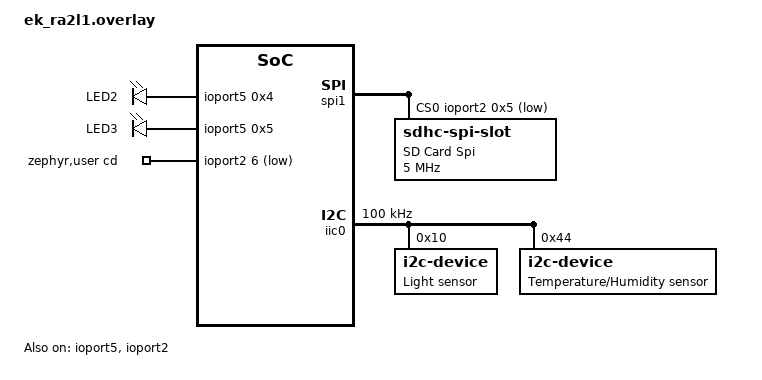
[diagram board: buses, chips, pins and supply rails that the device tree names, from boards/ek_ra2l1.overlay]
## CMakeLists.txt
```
cmake_minimum_required(VERSION 3.20.0)

list(APPEND BOARD_ROOT C:\\Users\\JohanneVIGNY\\ZephyrRTOS\\zephyr)  # Define path to board

set(BUILD_MODE "release" CACHE STRING "Build mode: debug or release")   # set build mode to release by default

if(BUILD_MODE STREQUAL "debug")
  set(CONF_FILE "prj.conf prj_debug.conf")                      # Enable console log via uart on kconfig
elseif(BUILD_MODE STREQUAL "release")
  set(CONF_FILE "prj.conf prj_release.conf")                    # Disable default console log via uart
else()
  message(FATAL_ERROR "Invalid BUILD_MODE: ${BUILD_MODE}. Use 'debug' or 'release'.")   # Error if build mode unknown
endif()

set(CONF_FILE ${CONF_FILE} CACHE INTERNAL "Merged config file list")    # merge default prj.conf with the one to enable or disable uart

find_package(Zephyr)    # pull zephyr and create a tagret named 'app'
project(my-app)     # Must be call after the previous line to avoid conflict
                    # Define my CMake application project

if(BUILD_MODE STREQUAL "debug")                             # If debug mode enable add macro Debug
    target_compile_definitions(app PRIVATE DEBUG=1)
endif()

target_sources(app PRIVATE src/main.c
                            src/lum_sensor.c
                            src/temp_hum_sensor.c
                            src/sd_card.c
                            ../../common/measures_logger/measures_logger.c) 

target_include_directories(app PRIVATE src ../../common/measures_logger/)
```

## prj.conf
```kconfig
CONFIG_I2C=y
CONFIG_GPIO=y
CONFIG_SPI=y

CONFIG_SDHC=y
CONFIG_SPI_SDHC=y
CONFIG_DISK_ACCESS=y
CONFIG_DISK_DRIVERS=y
CONFIG_FILE_SYSTEM=y
CONFIG_FAT_FILESYSTEM_ELM=y

CONFIG_MAIN_STACK_SIZE=4096
```

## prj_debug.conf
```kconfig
CONFIG_LOG=y
CONFIG_LOG_MODE_IMMEDIATE=y
CONFIG_SPI_LOG_LEVEL_DBG=y
CONFIG_SDHC_LOG_LEVEL_DBG=y
# CONFIG_BOOT_CLEAR_SCREEN=y
CONFIG_DEBUG=y
CONFIG_DEBUG_INFO=y
```

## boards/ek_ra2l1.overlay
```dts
/ {
	leds {
		led2: led2 {
			gpios = < &ioport5 0x4 GPIO_ACTIVE_HIGH >;
			label = "LED2";
		};
		led3: led3 {
			gpios = < &ioport5 0x5 GPIO_ACTIVE_HIGH >;
			label = "LED3";
		};
	};
	zephyr,user {
		cd-gpios = <&ioport2 6 GPIO_ACTIVE_LOW>;
	};
	soc {
		spi1: spi@40072100 {
			compatible = "renesas,ra-spi";
			#address-cells = < 0x1 >;
			#size-cells = < 0x0 >;
			channel = < 0x1 >;
			interrupts = < 12 0x1 >, < 13 0x1 >, < 14 0x1 >, < 15 0x1 >;
			interrupt-names = "rxi", "txi", "tei", "eri";
			reg = < 0x40072100 0x100 >;
			status = "okay";
			pinctrl-0 = < &spi1_default >;
			pinctrl-names = "default";
			cs-gpios = < &ioport2 0x5 GPIO_ACTIVE_LOW >;

			sd_card: sd_card@0 {
				compatible = "zephyr,sdhc-spi-slot";
				label = "SD Card Spi";
				reg = <0>;
				status = "okay";
				mmc {
					compatible = "zephyr,sdmmc-disk";
					disk-name = "SD";
					status = "okay";
				};
				spi-max-frequency = <5000000>;
			};
		};

		iic0: iic0@40053000 {
			status = "okay";
			compatible = "renesas,ra-iic";
			clock-frequency = < 100000 >;
			reg = < 0x40053000 0x100 >;
			#address-cells = < 0x1 >;
			#size-cells = < 0x0 >;
			interrupts = < 0x8 0x1 >, < 0x9 0x1 >, < 0xa 0x1 >, < 0xb 0x1 >;
			interrupt-names = "rxi", "txi", "tei", "eri";

			channel = < 0x0 >;
			pinctrl-0 = < &iic0_default >;
			pinctrl-names = "default";
			
			lum_sensor: lum_sensor@10 {
				compatible = "i2c-device";
				label = "Light sensor";
				reg = <0x10>;
			};
			temp_sensor: temp_sensor@44 {
				compatible = "i2c-device";
				label = "Temperature/Humidity sensor";
				reg = <0x44>;
			};
		};
	};
};

&ioport5 {
	status = "okay";
};

&ioport2 {
	status = "okay";
};

&pinctrl {
	iic0_default: iic0_default {
		group1 {
			psels = <RA_PSEL(RA_PSEL_I2C, 4, 8)>,	// SCL
				<RA_PSEL(RA_PSEL_I2C, 4, 7)>;		// SDA
		};
	};
	spi1_default: spi1_default{
		group1 {
			psels = <RA_PSEL(RA_PSEL_SPI, 2, 4)>,	// SCK
				<RA_PSEL(RA_PSEL_SPI, 2, 3)>,		// MOSI
				<RA_PSEL(RA_PSEL_SPI, 2, 2)>;		// MISO
		};
	};
};
```

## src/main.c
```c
#include "lum_sensor.h"
#include "measures_logger.h"
#include "temp_hum_sensor.h"
#include "sd_card.h"

static FATFS fat_fs;

static struct fs_mount_t mp = {
    .type = FS_FATFS,
    .fs_data = &fat_fs,
    .mnt_point = "/SD:",
};


bool is_board_ready(const struct i2c_dt_spec *lum_device, const struct i2c_dt_spec *temp_device)
{
    if (!device_is_ready(temp_device->bus))
        return false; 
    if (!device_is_ready(lum_device->bus))
        return false;
    return true;
}

int main()
{
    const struct i2c_dt_spec lum_device = I2C_DT_SPEC_GET(I2C_LUM_NODE);
    const struct i2c_dt_spec temp_device = I2C_DT_SPEC_GET(I2C_TEMP_NODE);
    
    measure_t current_measure = {.TEMP_HUM_SENSOR_EN = 0, .LUM_SENSOR_EN = 0};
    
    if (!is_board_ready(&lum_device, &temp_device))
    {
    #ifdef DEBUG
        printf("Board is not ready\n");
    #endif
        return 1;
    }

	measures_logger_init(1);
    
    while (1)
    {
        k_sleep(K_MSEC(5000));
        printf("loop\n");

        if (current_measure.LUM_SENSOR_EN && init_and_read_lum_sensor(&lum_device,
                    &current_measure.brightness) == 1)
            return 1;
        if (current_measure.TEMP_HUM_SENSOR_EN && read_temp_sensor(&temp_device, &current_measure.temperature,
                    &current_measure.humidity) == 1)
            return 1;
        measures_logger_write(&current_measure);
        size_t count = measures_logger_count();
        uint16_t size = measures_logger_get_size();
        if (count >= size)
        {
            write_in_sd_card(&fat_fs, &mp);
        }
    }
    return 0;
}
```

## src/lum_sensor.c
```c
#include "lum_sensor.h"

int init_lum_sensor(const struct i2c_dt_spec *lum_device)
{
    uint8_t config[3] = {0x00, 0x00, 0x08}; // { commmand config, config LSB, config MSB }, config => gain 1, IT => 100ms, Pers => 1

    if (i2c_write_dt(lum_device, config, 3) != 0)
        return 1;
    return 0;
}

uint8_t read_lum_sensor(const struct i2c_dt_spec *lum_device, uint16_t *light)
{
    uint8_t sensor_reg = 0x04;
    uint8_t lum_reading[2]= {0};

    if(i2c_write_read_dt(lum_device, &sensor_reg, 1, lum_reading, 2) != 0){
    #ifdef DEBUG
        printf("Failed to write/read I2C device address \n");
    #endif
        return 1;
    }
    *light = ((uint16_t)lum_reading[1] << 8) + lum_reading[0];
    *light = (uint32_t) (*light) * 82/100;
#ifdef DEBUG
    printf("Light sensor: %d\n", *light);
#endif
    return 0;
}

uint8_t init_and_read_lum_sensor(const struct i2c_dt_spec *lum_device, uint16_t *light)
{
	if (init_lum_sensor(lum_device) == 1){
    #ifdef DEBUG
		printf("Init i2c error\n");
    #endif
		return 1;
	}
    k_msleep(150);
	if (read_lum_sensor(lum_device, light))
		return 1;
	return 0;
}
```

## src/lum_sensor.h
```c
#ifndef LUM_SENSOR_H
# define LUM_SENSOR_H

#include <zephyr/drivers/i2c.h>
#include <zephyr/drivers/gpio.h>

#define I2C_LUM_NODE DT_NODELABEL(lum_sensor)

#if !DT_NODE_HAS_STATUS_OKAY(I2C_LUM_NODE)
#error "Unsupported board: sensor devicetree nodelabel is not defined"
#endif

int init_lum_sensor(const struct i2c_dt_spec *lum_device);
uint8_t read_lum_sensor(const struct i2c_dt_spec *lum_device, uint16_t *light);
uint8_t init_and_read_lum_sensor(const struct i2c_dt_spec *lum_device, uint16_t *light);

#endif
```

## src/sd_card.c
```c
#include "sd_card.h"

int lsdir(const char *path)
{
	struct fs_dir_t dirp;
	static struct fs_dirent entry;

	fs_dir_t_init(&dirp);

	if (fs_opendir(&dirp, path)) {
		printf("Error opening dir %s\n", path);
		return 1;
	}

	printf("\nListing dir %s ...\n", path);
	for (;;) {
		if (fs_readdir(&dirp, &entry) || entry.name[0] == 0)
			break;

		if (entry.type == FS_DIR_ENTRY_DIR) {
			printf("[DIR ] %s\n", entry.name);
		} else {
			printf("[FILE] %s (size = %zu)\n",
				entry.name, entry.size);
		}
	}
	fs_closedir(&dirp);
	return 0;
}

uint8_t get_disk_info()
{
    const char *disk_pdrv = "SD";
    uint64_t memory_size_mb;
    uint32_t block_count;
    uint32_t block_size;

    if (disk_access_ioctl(disk_pdrv, DISK_IOCTL_CTRL_INIT, NULL) != 0) {
        printf("Error init device\n");
        return 1;
    }
    if (disk_access_ioctl(disk_pdrv,DISK_IOCTL_GET_SECTOR_COUNT, &block_count) != 0) {
        printf("Error get sector count\n");
        return 1;
    }
    printf("Block count %u\n", block_count);
    if (disk_access_ioctl(disk_pdrv, DISK_IOCTL_GET_SECTOR_SIZE, &block_size)) {
        printf("Unable to get sector size\n");
        return 1;
    }
    printf("Sector size %u bytes\n", block_size);

    memory_size_mb = (uint64_t)block_count * block_size;
	printf("Memory Size(MB) %u\n", (uint32_t)(memory_size_mb >> 20));

    if (disk_access_ioctl(disk_pdrv, DISK_IOCTL_CTRL_DEINIT, NULL) != 0) {
        printf("Storage deinit ERROR!\n");
        return 1;
    }
    return 0;
}

bool is_card_detected()
{
    const struct gpio_dt_spec cd = GPIO_DT_SPEC_GET(DT_PATH(zephyr_user), cd_gpios);

    gpio_pin_configure_dt(&cd, GPIO_INPUT);
	k_msleep(1);
    bool is_detected = gpio_pin_get_raw(cd.port, cd.pin);
#ifdef DEBUG
    printf("card detected %d\n", !is_detected);
#endif

    return !is_detected;
}

static void close_unmount_file(struct fs_file_t *file, struct fs_mount_t *mp)
{
    fs_close(file);
    fs_unmount(mp);
} 

int write_in_sd_card(FATFS *fat_fs, struct fs_mount_t *mp)
{
    char currentfilename[32] = {'\0'};
    char csvline[168] = {'\0'};
    struct fs_file_t file;
    struct fs_dirent empty_file;

    if(!is_card_detected())
    {
    #ifdef DEBUG
        printf("Card not detected\n");
    #endif
        return 1;
    }

    if (fs_mount(mp) != 0) {
    #ifdef DEBUG
        printf("Error mounting disk\n");
    #endif
        return 1;
    }
    
    fs_file_t_init(&file);
    snprintf(currentfilename, 29, "/SD:/b.csv");
    if (fs_open(&file, currentfilename, FS_O_CREATE | FS_O_APPEND | FS_O_WRITE) != 0)
    {
    #ifdef DEBUG
        printf("Error failed to open filename: %s\n", currentfilename);
    #endif
        return close_unmount_file(&file, mp), 1;
    }
    if (fs_stat(currentfilename, &empty_file) != 0)
    {
    #ifdef DEBUG
        printf("Error stat file size\n");
    #endif
        return close_unmount_file(&file, mp), 1;
    }
    if (empty_file.size == 0)
    {
        fs_write(&file, "T(degC);H(%%);Luminosity(lux)\r\n", strlen("T(degC);H(%%);Luminosity(lux)\r\n"));
    }
    uint16_t ml_size = measures_logger_get_size();
    for (int i = 0; i < ml_size; i++)
    {
        memset(csvline, 0, sizeof(csvline));
        bool ml_read_err = measures_logger_read_CSV(csvline);
        if (ml_read_err == MEASURES_LOGGER_RES_FAILURE)
        {
            MEASURES_LOGGER_ERROR ml_err = measures_logger_get_error();
            if (ml_err == MEASURES_LOGGER_ERROR_OK)
            {}
            else if (ml_err == MEASURES_LOGGER_NOTHING_TO_READ)
                return close_unmount_file(&file, mp), 1;
            else
                return close_unmount_file(&file, mp), 1;
        }
        strcat(csvline, "\r\n");
    
    #ifdef DEBUG
        printf("res : %s\n", csvline);
    #endif
        fs_write(&file, csvline, strlen(csvline));
    }
    close_unmount_file(&file, mp);
    return 0;
}
```

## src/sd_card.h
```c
#ifndef SD_CARD_H
# define SD_CARD_H

#include <zephyr/drivers/spi.h>
#include <zephyr/storage/disk_access.h>
#include <zephyr/fs/fs.h>
#include <ff.h>
#include "measures_logger.h"

int lsdir(const char *path);
uint8_t get_disk_info();
int write_in_sd_card(FATFS *fat_fs, struct fs_mount_t *mp);
bool is_card_detected();

#endif
```

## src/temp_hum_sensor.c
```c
#include "temp_hum_sensor.h"

uint8_t read_temp_sensor(const struct i2c_dt_spec *temp_device, uint16_t *temp, uint16_t *humidity)
{
    uint8_t sensor_reg = 0xFD;
    uint8_t reading[6]= {0};
    uint32_t u32_temp;
	  uint32_t u32_humidity;

    // function i2c_write_read_dt doesn't generate a stop condition before switching to a read, no supported by all i2c sensor
    if(i2c_write_dt(temp_device, &sensor_reg, 1) != 0){
    #ifdef DEBUG
      printf("Failed to write/read I2C device address\n");
    #endif
      return 1;
    }
    k_msleep(10);
    if (i2c_read_dt(temp_device, reading, 6) != 0)
    {
    #ifdef DEBUG
      printf("Error invalid number of bytes read\n");
    #endif
      return 1;
    }

    //Add 100�C to temp and temp multiple by 10 to keep float precision
    (*temp) = (reading[0] << 8) + reading[1];
    u32_temp = (uint32_t)(((*temp) * 267 / 10000) + 1000);
    u32_temp = u32_temp - 450;
    (*temp) = (uint16_t)u32_temp;
    //(*temp) = -45 + 175 * (*temp) / 65535;

    //Humidity multiple by 10 to keep float precision
    (*humidity) = (reading[3] << 8) + reading[4];
    u32_humidity = ((uint32_t)((*humidity) * 1907) - 6000000) / 100000;
    (*humidity) = (uint16_t)u32_humidity;
    //(*humidity) = -6 + 125 * (*humidity) / 65535;

  #ifdef DEBUG
    printf("Temperature: %d, Humidity %d\n", ((*temp) - 1000) / 10, (*humidity)/ 10);
  #endif
    return 0;
}

void ftoa(float fnum, char res[5])
{
  float tmpVal  = (fnum < 0) ? -fnum : fnum;

  int   tmpInt1 = tmpVal;            // Get the integer
  float tmpFrac = tmpVal - tmpInt1;  // Get fraction
  int   tmpInt2 = (tmpFrac * 100);   // Turn into integer

  snprintf(res, 5, "%02d.%01d", tmpInt1, tmpInt2);
}

/**
 * @brief convert temperature from u16 to string readable format : +AA.A
 */
void temp_to_string(const uint16_t u16_temp, char *s_temp)
{
  float f_temperature;
  char  s_temperature[5];
  char *tmpSign;

  f_temperature = ((float)(u16_temp - 1000) / 10);
  ftoa(f_temperature, s_temperature);

  tmpSign = (f_temperature < 0) ? "-" : "+";

  snprintf(s_temp, 6, "%s%s", tmpSign, s_temperature);
}

/**
 * @brief convert humidity from u16 to string readable format : AA.A
 */
void hum_to_string(const uint16_t u16_hum, char s_hum[5])
{
  float f_humidity;

  f_humidity = ((float)u16_hum) / 10;
  ftoa(f_humidity, s_hum);
}
```

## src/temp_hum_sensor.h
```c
#ifndef TEMP_HUM_SENSOR_H
# define TEMP_HUM_SENSOR_H

#include <zephyr/drivers/i2c.h>

#define I2C_TEMP_NODE DT_NODELABEL(temp_sensor)

#if !DT_NODE_HAS_STATUS_OKAY(I2C_TEMP_NODE)
#error "Unsupported board: sensor devicetree nodelabel is not defined"
#endif

uint8_t read_temp_sensor(const struct i2c_dt_spec *temp_device, uint16_t *temp, uint16_t *humidity);
void    hum_to_string(const uint16_t u16_hum, char s_hum[5]);
void    temp_to_string(const uint16_t u16_temp, char *s_temp);
void    ftoa(float fnum, char res[5]);

#endif
```
